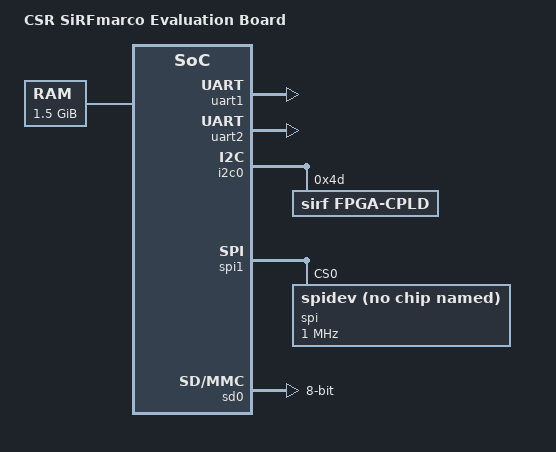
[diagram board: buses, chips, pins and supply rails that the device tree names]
/*
 * DTS file for CSR SiRFmarco Evaluation Board
 *
 * Copyright (c) 2012 Cambridge Silicon Radio Limited, a CSR plc group company.
 *
 * Licensed under GPLv2 or later.
 */

/dts-v1/;

/include/ "marco.dtsi"

/ {
	model = "CSR SiRFmarco Evaluation Board";
	compatible = "sirf,marco-cb", "sirf,marco";

	memory {
		reg = <0x40000000 0x60000000>;
	};

	axi {
		peri-iobg {
			uart1: uart@cc060000 {
				status = "okay";
			};
			uart2: uart@cc070000 {
				status = "okay";
			};
			i2c0: i2c@cc0e0000 {
			      status = "okay";
			      fpga-cpld@4d {
				      compatible = "sirf,fpga-cpld";
				      reg = <0x4d>;
			      };
			};
			spi1: spi@cc170000 {
				status = "okay";
				pinctrl-names = "default";
				pinctrl-0 = <&spi1_pins_a>;
				spi@0 {
					compatible = "spidev";
					reg = <0>;
					spi-max-frequency = <1000000>;
				};
			};
			pci-iobg {
				sd0: sdhci@cd000000 {
					bus-width = <8>;
					status = "okay";
				};
			};
		};
	};
};
